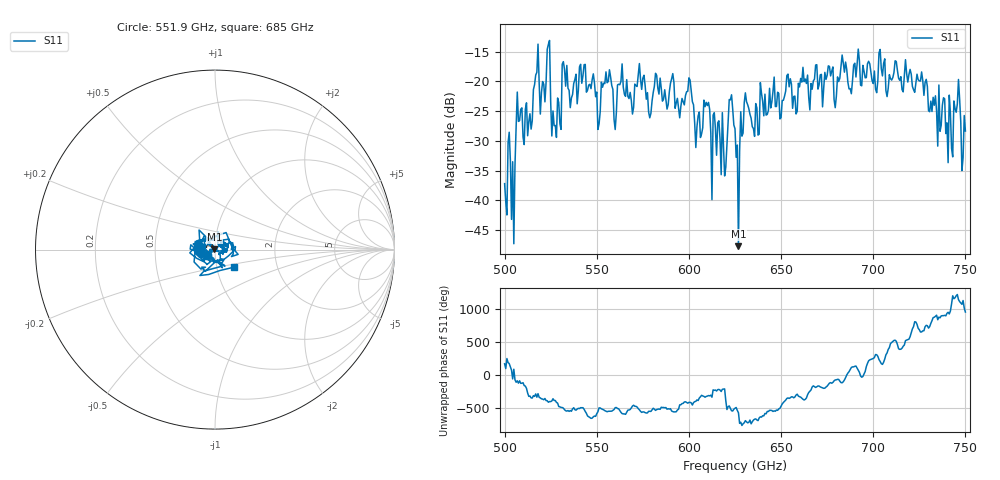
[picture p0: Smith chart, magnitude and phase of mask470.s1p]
!Created with skrf (http://scikit-rf.org).
# GHz S MA R 50.0
!freq magS11 angS11
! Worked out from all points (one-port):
!   401 points, 500 GHz to 750 GHz, reference 50 ohm
!   lowest |S11| = -47.7 dB at 626.9 GHz (marker M1), VSWR 1.01, Z = 49.7 + j0.252 ohm
!   |S11| at or under -10 dB: start of sweep to end of sweep
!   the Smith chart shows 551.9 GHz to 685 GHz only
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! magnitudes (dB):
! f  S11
! 500 GHz  -37.2
! 503.1 GHz  -33.3
! 504.4 GHz  -33.5
! 508.1 GHz  -26.6
! 513.8 GHz  -25.4
! 516.9 GHz  -18.9
! 520.6 GHz  -20.0
! 523.8 GHz  -13.8
! 526.9 GHz  -27.4
! 531.2 GHz  -17.1
! 542.5 GHz  -19.0
! 550.6 GHz  -28.1
! 562.5 GHz  -20.6
! 593.8 GHz  -22.8
! 609.4 GHz  -23.5
! 618.8 GHz  -30.9
! 622.5 GHz  -23.1
! 625 GHz  -27.9
! 626.9 GHz  -47.7
! 631.2 GHz  -23.4
! 656.2 GHz  -24.5
! 680 GHz  -22.5
! 683.8 GHz  -16.9
! 687.5 GHz  -21.2
! 718.8 GHz  -20.1
! 741.9 GHz  -25.4
! 745.6 GHz  -23.8
! 750 GHz  -28.3
